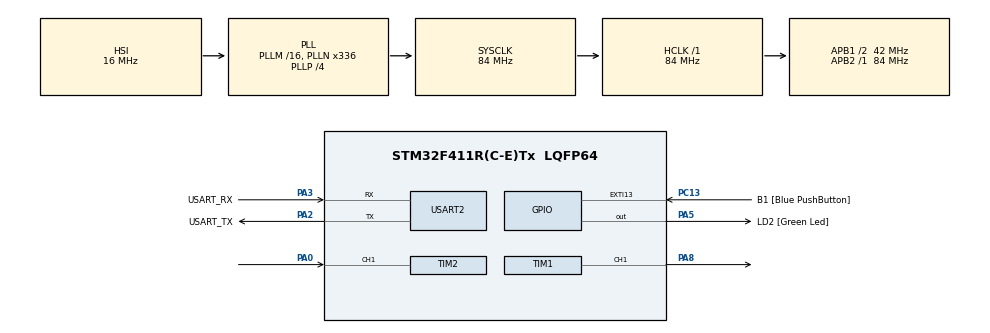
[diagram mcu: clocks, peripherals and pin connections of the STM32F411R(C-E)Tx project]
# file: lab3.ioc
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Dma.Request0=TIM2_CH1
Dma.TIM2_CH1.0.Direction=DMA_PERIPH_TO_MEMORY
Dma.TIM2_CH1.0.FIFOMode=DMA_FIFOMODE_DISABLE
Dma.TIM2_CH1.0.Instance=DMA1_Stream5
Dma.TIM2_CH1.0.MemDataAlignment=DMA_MDATAALIGN_WORD
Dma.TIM2_CH1.0.MemInc=DMA_MINC_ENABLE
Dma.TIM2_CH1.0.Mode=DMA_CIRCULAR
Dma.TIM2_CH1.0.PeriphDataAlignment=DMA_PDATAALIGN_WORD
Dma.TIM2_CH1.0.PeriphInc=DMA_PINC_DISABLE
Dma.TIM2_CH1.0.Priority=DMA_PRIORITY_LOW
Mcu.Family=STM32F4
Mcu.Name=STM32F411R(C-E)Tx
Mcu.Package=LQFP64
NVIC.DMA1_Stream5_IRQn=true\:0\:0\:false\:false\:true\:false\:true\:true
NVIC.PriorityGroup=NVIC_PRIORITYGROUP_0
PA0-WKUP.Signal=S_TIM2_CH1_ETR
PA13.GPIO_Label=TMS
PA13.Mode=Serial_Wire
PA13.Signal=SYS_JTMS-SWDIO
PA14.GPIO_Label=TCK
PA14.Mode=Serial_Wire
PA14.Signal=SYS_JTCK-SWCLK
PA2.GPIO_Label=USART_TX
PA2.Mode=Asynchronous
PA2.Signal=USART2_TX
PA3.GPIO_Label=USART_RX
PA3.Mode=Asynchronous
PA3.Signal=USART2_RX
PA5.GPIO_Label=LD2 [Green Led]
PA5.Signal=GPIO_Output
PA8.Signal=S_TIM1_CH1
PB3.GPIO_Label=SWO
PB3.Signal=SYS_JTDO-SWO
PC13-ANTI_TAMP.GPIO_Label=B1 [Blue PushButton]
PC13-ANTI_TAMP.GPIO_ModeDefaultEXTI=GPIO_MODE_IT_FALLING
PC13-ANTI_TAMP.Signal=GPXTI13
PC14-OSC32_IN.Mode=LSE-External-Oscillator
PC14-OSC32_IN.Signal=RCC_OSC32_IN
PC15-OSC32_OUT.Mode=LSE-External-Oscillator
PC15-OSC32_OUT.Signal=RCC_OSC32_OUT
PH0\ -\ OSC_IN.Mode=HSE-External-Clock-Source
PH0\ -\ OSC_IN.Signal=RCC_OSC_IN
PH1\ -\ OSC_OUT.Mode=HSE-External-Clock-Source
PH1\ -\ OSC_OUT.Signal=RCC_OSC_OUT
ProjectManager.HeapSize=0x200
ProjectManager.StackSize=0x400
ProjectManager.TargetToolchain=STM32CubeIDE
RCC.48MHZClocksFreq_Value=84000000
RCC.AHBFreq_Value=84000000
RCC.APB1CLKDivider=RCC_HCLK_DIV2
RCC.APB1Freq_Value=42000000
RCC.APB1TimFreq_Value=84000000
RCC.APB2Freq_Value=84000000
RCC.APB2TimFreq_Value=84000000
RCC.CortexFreq_Value=84000000
RCC.FLatency-AdvancedSettings=FLASH_LATENCY_2
RCC.HCLKFreq_Value=84000000
RCC.HSE_VALUE=8000000
RCC.HSI_VALUE=16000000
RCC.PLLN=336
RCC.PLLP=RCC_PLLP_DIV4
RCC.SYSCLKFreq_VALUE=84000000
RCC.SYSCLKSource=RCC_SYSCLKSOURCE_PLLCLK
RCC.VCOOutputFreq_Value=336000000
SH.S_TIM1_CH1.0=TIM1_CH1,PWM Generation1 CH1
SH.S_TIM2_CH1_ETR.0=TIM2_CH1,Input_Capture1_from_TI1
TIM1.Channel-PWM\ Generation1\ CH1=TIM_CHANNEL_1
TIM1.Period=1000
TIM1.Prescaler=83
TIM1.Pulse-PWM\ Generation1\ CH1=500
TIM2.Channel-Input_Capture1_from_TI1=TIM_CHANNEL_1
TIM2.Prescaler=83
USART2.VirtualMode=VM_ASYNC
VP_TIM1_VS_ClockSourceINT.Mode=Internal
VP_TIM2_VS_ClockSourceINT.Mode=Internal
board=NUCLEO-F411RE

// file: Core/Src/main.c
/* USER CODE BEGIN Header */
/**
  ******************************************************************************
  * @file           : main.c
  * @brief          : Main program body
  ******************************************************************************
  * @attention
  *
  * Copyright (c) 2023 STMicroelectronics.
  * All rights reserved.
  *
  * This software is licensed under terms that can be found in the LICENSE file
  * in the root directory of this software component.
  * If no LICENSE file comes with this software, it is provided AS-IS.
  *
  ******************************************************************************
  */
/* USER CODE END Header */
#include "main.h"

/* USER CODE BEGIN Includes */
#define IC_BUFFER_SIZE 20
/* USER CODE END Includes */

TIM_HandleTypeDef htim1;
TIM_HandleTypeDef htim2;
DMA_HandleTypeDef hdma_tim2_ch1;

UART_HandleTypeDef huart2;

/* USER CODE BEGIN PV */
uint32_t InputCaptureBuffer[IC_BUFFER_SIZE];
float MotorReadRPM;
uint32_t NewRPM;
uint32_t MotorSetDuty = 100;
uint32_t MotorSetRPM = 0;
uint32_t MotorControlEnable = 0;
/* USER CODE END PV */

void SystemClock_Config(void);
static void MX_GPIO_Init(void);
static void MX_DMA_Init(void);
static void MX_USART2_UART_Init(void);
static void MX_TIM1_Init(void);
static void MX_TIM2_Init(void);
/* USER CODE BEGIN PFP */
float IC_Calc_Period();
/* USER CODE END PFP */

int main(void)
{

  /* MCU Configuration--------------------------------------------------------*/

  /* Reset of all peripherals, Initializes the Flash interface and the Systick. */
  HAL_Init();

  /* Configure the system clock */
  SystemClock_Config();

  /* Initialize all configured peripherals */
  MX_GPIO_Init();
  MX_DMA_Init();
  MX_USART2_UART_Init();
  MX_TIM1_Init();
  MX_TIM2_Init();
  /* USER CODE BEGIN 2 */
  HAL_TIM_Base_Start(&htim2);
  HAL_TIM_IC_Start_DMA(&htim2, TIM_CHANNEL_1, InputCaptureBuffer, IC_BUFFER_SIZE);

  HAL_TIM_Base_Start(&htim1);
  HAL_TIM_PWM_Start(&htim1, TIM_CHANNEL_1);
  /* USER CODE END 2 */

  /* Infinite loop */
  while (1)
  {

    /* USER CODE BEGIN 3 */
		static uint32_t timestamp =0;
		if (HAL_GetTick()>= timestamp)
		{
			timestamp = HAL_GetTick()+500;
			MotorReadRPM = (1000000*64)/(IC_Calc_Period()*12*60);
			NewRPM = (1000000*64)/(IC_Calc_Period()*12*60);
			if(MotorControlEnable == 0)
			{
				__HAL_TIM_SET_COMPARE(&htim1,TIM_CHANNEL_1,MotorSetDuty*10);
			}
			else if(MotorControlEnable == 1)
			{
				if(NewRPM < MotorSetRPM && MotorSetDuty != 100)
				{
					MotorSetDuty = MotorSetDuty+1 ;
					__HAL_TIM_SET_COMPARE(&htim1,TIM_CHANNEL_1,MotorSetDuty*10);

				}
				else if(NewRPM > MotorSetRPM && MotorSetDuty != 0)
				{
					MotorSetDuty = MotorSetDuty-1;
					__HAL_TIM_SET_COMPARE(&htim1,TIM_CHANNEL_1,MotorSetDuty*10);
				}
			}
		}
  }
  /* USER CODE END 3 */
}

void SystemClock_Config(void)
{
  RCC_OscInitTypeDef RCC_OscInitStruct = {0};
  RCC_ClkInitTypeDef RCC_ClkInitStruct = {0};

  /** Configure the main internal regulator output voltage
  */
  __HAL_RCC_PWR_CLK_ENABLE();
  __HAL_PWR_VOLTAGESCALING_CONFIG(PWR_REGULATOR_VOLTAGE_SCALE1);

  /** Initializes the RCC Oscillators according to the specified parameters
  * in the RCC_OscInitTypeDef structure.
  */
  RCC_OscInitStruct.OscillatorType = RCC_OSCILLATORTYPE_HSI;
  RCC_OscInitStruct.HSIState = RCC_HSI_ON;
  RCC_OscInitStruct.HSICalibrationValue = RCC_HSICALIBRATION_DEFAULT;
  RCC_OscInitStruct.PLL.PLLState = RCC_PLL_ON;
  RCC_OscInitStruct.PLL.PLLSource = RCC_PLLSOURCE_HSI;
  RCC_OscInitStruct.PLL.PLLM = 16;
  RCC_OscInitStruct.PLL.PLLN = 336;
  RCC_OscInitStruct.PLL.PLLP = RCC_PLLP_DIV4;
  RCC_OscInitStruct.PLL.PLLQ = 4;
  if (HAL_RCC_OscConfig(&RCC_OscInitStruct) != HAL_OK)
  {
    Error_Handler();
  }

  /** Initializes the CPU, AHB and APB buses clocks
  */
  RCC_ClkInitStruct.ClockType = RCC_CLOCKTYPE_HCLK|RCC_CLOCKTYPE_SYSCLK
                              |RCC_CLOCKTYPE_PCLK1|RCC_CLOCKTYPE_PCLK2;
  RCC_ClkInitStruct.SYSCLKSource = RCC_SYSCLKSOURCE_PLLCLK;
  RCC_ClkInitStruct.AHBCLKDivider = RCC_SYSCLK_DIV1;
  RCC_ClkInitStruct.APB1CLKDivider = RCC_HCLK_DIV2;
  RCC_ClkInitStruct.APB2CLKDivider = RCC_HCLK_DIV1;

  if (HAL_RCC_ClockConfig(&RCC_ClkInitStruct, FLASH_LATENCY_2) != HAL_OK)
  {
    Error_Handler();
  }
}

static void MX_TIM1_Init(void)
{

  TIM_ClockConfigTypeDef sClockSourceConfig = {0};
  TIM_MasterConfigTypeDef sMasterConfig = {0};
  TIM_OC_InitTypeDef sConfigOC = {0};
  TIM_BreakDeadTimeConfigTypeDef sBreakDeadTimeConfig = {0};

  htim1.Instance = TIM1;
  htim1.Init.Prescaler = 83;
  htim1.Init.CounterMode = TIM_COUNTERMODE_UP;
  htim1.Init.Period = 1000;
  htim1.Init.ClockDivision = TIM_CLOCKDIVISION_DIV1;
  htim1.Init.RepetitionCounter = 0;
  htim1.Init.AutoReloadPreload = TIM_AUTORELOAD_PRELOAD_DISABLE;
  if (HAL_TIM_Base_Init(&htim1) != HAL_OK)
  {
    Error_Handler();
  }
  sClockSourceConfig.ClockSource = TIM_CLOCKSOURCE_INTERNAL;
  if (HAL_TIM_ConfigClockSource(&htim1, &sClockSourceConfig) != HAL_OK)
  {
    Error_Handler();
  }
  if (HAL_TIM_PWM_Init(&htim1) != HAL_OK)
  {
    Error_Handler();
  }
  sMasterConfig.MasterOutputTrigger = TIM_TRGO_RESET;
  sMasterConfig.MasterSlaveMode = TIM_MASTERSLAVEMODE_DISABLE;
  if (HAL_TIMEx_MasterConfigSynchronization(&htim1, &sMasterConfig) != HAL_OK)
  {
    Error_Handler();
  }
  sConfigOC.OCMode = TIM_OCMODE_PWM1;
  sConfigOC.Pulse = 500;
  sConfigOC.OCPolarity = TIM_OCPOLARITY_HIGH;
  sConfigOC.OCNPolarity = TIM_OCNPOLARITY_HIGH;
  sConfigOC.OCFastMode = TIM_OCFAST_DISABLE;
  sConfigOC.OCIdleState = TIM_OCIDLESTATE_RESET;
  sConfigOC.OCNIdleState = TIM_OCNIDLESTATE_RESET;
  if (HAL_TIM_PWM_ConfigChannel(&htim1, &sConfigOC, TIM_CHANNEL_1) != HAL_OK)
  {
    Error_Handler();
  }
  sBreakDeadTimeConfig.OffStateRunMode = TIM_OSSR_DISABLE;
  sBreakDeadTimeConfig.OffStateIDLEMode = TIM_OSSI_DISABLE;
  sBreakDeadTimeConfig.LockLevel = TIM_LOCKLEVEL_OFF;
  sBreakDeadTimeConfig.DeadTime = 0;
  sBreakDeadTimeConfig.BreakState = TIM_BREAK_DISABLE;
  sBreakDeadTimeConfig.BreakPolarity = TIM_BREAKPOLARITY_HIGH;
  sBreakDeadTimeConfig.AutomaticOutput = TIM_AUTOMATICOUTPUT_DISABLE;
  if (HAL_TIMEx_ConfigBreakDeadTime(&htim1, &sBreakDeadTimeConfig) != HAL_OK)
  {
    Error_Handler();
  }
  HAL_TIM_MspPostInit(&htim1);

}

static void MX_TIM2_Init(void)
{

  TIM_ClockConfigTypeDef sClockSourceConfig = {0};
  TIM_MasterConfigTypeDef sMasterConfig = {0};
  TIM_IC_InitTypeDef sConfigIC = {0};

  htim2.Instance = TIM2;
  htim2.Init.Prescaler = 83;
  htim2.Init.CounterMode = TIM_COUNTERMODE_UP;
  htim2.Init.Period = 4294967295;
  htim2.Init.ClockDivision = TIM_CLOCKDIVISION_DIV1;
  htim2.Init.AutoReloadPreload = TIM_AUTORELOAD_PRELOAD_DISABLE;
  if (HAL_TIM_Base_Init(&htim2) != HAL_OK)
  {
    Error_Handler();
  }
  sClockSourceConfig.ClockSource = TIM_CLOCKSOURCE_INTERNAL;
  if (HAL_TIM_ConfigClockSource(&htim2, &sClockSourceConfig) != HAL_OK)
  {
    Error_Handler();
  }
  if (HAL_TIM_IC_Init(&htim2) != HAL_OK)
  {
    Error_Handler();
  }
  sMasterConfig.MasterOutputTrigger = TIM_TRGO_RESET;
  sMasterConfig.MasterSlaveMode = TIM_MASTERSLAVEMODE_DISABLE;
  if (HAL_TIMEx_MasterConfigSynchronization(&htim2, &sMasterConfig) != HAL_OK)
  {
    Error_Handler();
  }
  sConfigIC.ICPolarity = TIM_INPUTCHANNELPOLARITY_RISING;
  sConfigIC.ICSelection = TIM_ICSELECTION_DIRECTTI;
  sConfigIC.ICPrescaler = TIM_ICPSC_DIV1;
  sConfigIC.ICFilter = 0;
  if (HAL_TIM_IC_ConfigChannel(&htim2, &sConfigIC, TIM_CHANNEL_1) != HAL_OK)
  {
    Error_Handler();
  }

}

static void MX_USART2_UART_Init(void)
{

  huart2.Instance = USART2;
  huart2.Init.BaudRate = 115200;
  huart2.Init.WordLength = UART_WORDLENGTH_8B;
  huart2.Init.StopBits = UART_STOPBITS_1;
  huart2.Init.Parity = UART_PARITY_NONE;
  huart2.Init.Mode = UART_MODE_TX_RX;
  huart2.Init.HwFlowCtl = UART_HWCONTROL_NONE;
  huart2.Init.OverSampling = UART_OVERSAMPLING_16;
  if (HAL_UART_Init(&huart2) != HAL_OK)
  {
    Error_Handler();
  }

}

static void MX_DMA_Init(void)
{

  /* DMA controller clock enable */
  __HAL_RCC_DMA1_CLK_ENABLE();

  /* DMA interrupt init */
  /* DMA1_Stream5_IRQn interrupt configuration */
  HAL_NVIC_SetPriority(DMA1_Stream5_IRQn, 0, 0);
  HAL_NVIC_EnableIRQ(DMA1_Stream5_IRQn);

}

static void MX_GPIO_Init(void)
{
  GPIO_InitTypeDef GPIO_InitStruct = {0};

  /* GPIO Ports Clock Enable */
  __HAL_RCC_GPIOC_CLK_ENABLE();
  __HAL_RCC_GPIOH_CLK_ENABLE();
  __HAL_RCC_GPIOA_CLK_ENABLE();
  __HAL_RCC_GPIOB_CLK_ENABLE();

  /*Configure GPIO pin Output Level */
  HAL_GPIO_WritePin(LD2_GPIO_Port, LD2_Pin, GPIO_PIN_RESET);

  /*Configure GPIO pin : B1_Pin */
  GPIO_InitStruct.Pin = B1_Pin;
  GPIO_InitStruct.Mode = GPIO_MODE_IT_FALLING;
  GPIO_InitStruct.Pull = GPIO_NOPULL;
  HAL_GPIO_Init(B1_GPIO_Port, &GPIO_InitStruct);

  /*Configure GPIO pin : LD2_Pin */
  GPIO_InitStruct.Pin = LD2_Pin;
  GPIO_InitStruct.Mode = GPIO_MODE_OUTPUT_PP;
  GPIO_InitStruct.Pull = GPIO_NOPULL;
  GPIO_InitStruct.Speed = GPIO_SPEED_FREQ_LOW;
  HAL_GPIO_Init(LD2_GPIO_Port, &GPIO_InitStruct);

}

/* USER CODE BEGIN 4 */
float IC_Calc_Period()
{
	uint32_t currentDMAPointer = IC_BUFFER_SIZE - __HAL_DMA_GET_COUNTER((htim2.hdma[1]));
	uint32_t lastValidDMAPointer = (currentDMAPointer-1 + IC_BUFFER_SIZE)% IC_BUFFER_SIZE;
	uint32_t i = (lastValidDMAPointer + IC_BUFFER_SIZE - 6)% IC_BUFFER_SIZE;
	uint32_t sumdiff = 0;
	while (i != lastValidDMAPointer)
	{
		uint32_t firstCapture =  InputCaptureBuffer[i];
		uint32_t NextCapture = InputCaptureBuffer[(i+1)%IC_BUFFER_SIZE];
		sumdiff += NextCapture - firstCapture;
		i = (i+1)%IC_BUFFER_SIZE;
	}
	return (sumdiff / 5.0);
}
/* USER CODE END 4 */

void Error_Handler(void)
{
  __disable_irq();
  while (1)
  {
  }
}
